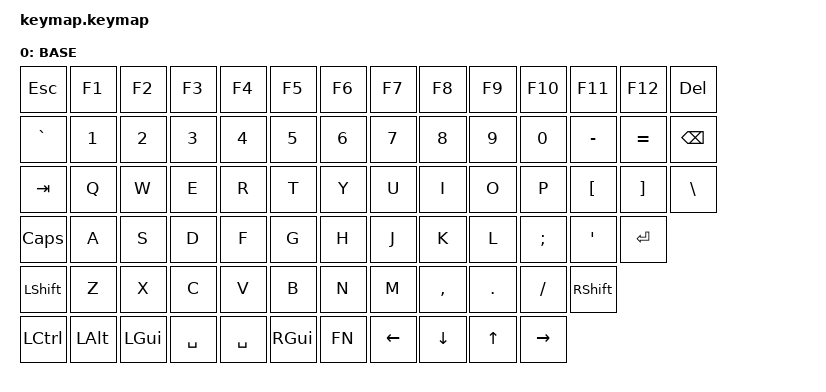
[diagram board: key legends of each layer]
/ {
  keymap {
    compatible = "zmk,keymap";

    default_layer {
      bindings = <
        &kp ESC     &kp F1    &kp F2    &kp F3    &kp F4    &kp F5    &kp F6    &kp F7    &kp F8    &kp F9    &kp F10   &kp F11   &kp F12   &kp DEL
        &kp GRAVE   &kp N1    &kp N2    &kp N3    &kp N4    &kp N5    &kp N6    &kp N7    &kp N8    &kp N9    &kp N0     &kp MINUS &kp EQUAL &kp BSPC
        &kp TAB     &kp Q     &kp W     &kp E     &kp R     &kp T     &kp Y     &kp U     &kp I     &kp O     &kp P      &kp LBKT  &kp RBKT  &kp BSLH
        &kp CAPS    &kp A     &kp S     &kp D     &kp F     &kp G     &kp H     &kp J     &kp K     &kp L     &kp SEMI   &kp SQT   &kp ENTER
        &kp LSHIFT  &kp Z     &kp X     &kp C     &kp V     &kp B     &kp N     &kp M     &kp COMMA &kp DOT   &kp SLASH  &kp RSHIFT
        &kp LCTRL   &kp LALT  &kp LGUI  &kp SPACE &kp SPACE &kp RGUI  &kp FN    &kp LEFT  &kp DOWN  &kp UP    &kp RIGHT
      >;
      label = "BASE";
    };
  };
};

